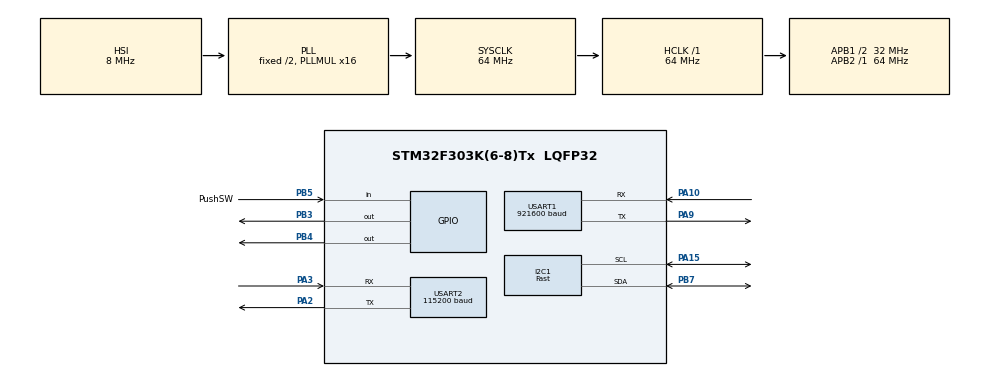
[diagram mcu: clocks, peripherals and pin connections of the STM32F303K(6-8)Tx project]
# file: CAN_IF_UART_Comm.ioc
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Dma.Request0=USART1_RX
Dma.USART1_RX.0.Direction=DMA_PERIPH_TO_MEMORY
Dma.USART1_RX.0.Instance=DMA1_Channel5
Dma.USART1_RX.0.MemDataAlignment=DMA_MDATAALIGN_BYTE
Dma.USART1_RX.0.MemInc=DMA_MINC_ENABLE
Dma.USART1_RX.0.Mode=DMA_CIRCULAR
Dma.USART1_RX.0.PeriphDataAlignment=DMA_PDATAALIGN_BYTE
Dma.USART1_RX.0.PeriphInc=DMA_PINC_DISABLE
Dma.USART1_RX.0.Priority=DMA_PRIORITY_LOW
I2C1.I2C_Speed_Mode=I2C_Fast
I2C1.Timing=0x0000020B
Mcu.Family=STM32F3
Mcu.Name=STM32F303K(6-8)Tx
Mcu.Package=LQFP32
NVIC.DMA1_Channel5_IRQn=true\:0\:0\:false\:false\:true\:false\:true
NVIC.PriorityGroup=NVIC_PRIORITYGROUP_4
NVIC.TIM3_IRQn=true\:0\:0\:false\:false\:true\:true\:true
NVIC.USART1_IRQn=true\:0\:0\:false\:false\:true\:true\:true
PA10.GPIO_PuPd=GPIO_PULLUP
PA10.Mode=Asynchronous
PA10.Signal=USART1_RX
PA13.GPIO_Label=SWDIO
PA13.Mode=Serial_Wire
PA13.Signal=SYS_JTMS-SWDIO
PA14.GPIO_Label=SWCLK
PA14.Mode=Serial_Wire
PA14.Signal=SYS_JTCK-SWCLK
PA15.Mode=I2C
PA15.Signal=I2C1_SCL
PA2.Mode=Asynchronous
PA2.Signal=USART2_TX
PA3.GPIO_PuPd=GPIO_PULLUP
PA3.Mode=Asynchronous
PA3.Signal=USART2_RX
PA9.Mode=Asynchronous
PA9.Signal=USART1_TX
PB3.Signal=GPIO_Output
PB4.Signal=GPIO_Output
PB5.GPIO_Label=PushSW
PB5.GPIO_PuPd=GPIO_PULLUP
PB5.Signal=GPIO_Input
PB7.Mode=I2C
PB7.Signal=I2C1_SDA
PF0\ /\ OSC_IN.GPIO_Label=MCO
PF0\ /\ OSC_IN.Mode=HSE-External-Clock-Source
PF0\ /\ OSC_IN.Signal=RCC_OSC_IN
ProjectManager.HeapSize=0x200
ProjectManager.StackSize=0x400
ProjectManager.TargetToolchain=Makefile
RCC.AHBFreq_Value=64000000
RCC.APB1CLKDivider=RCC_HCLK_DIV2
RCC.APB1Freq_Value=32000000
RCC.APB1TimFreq_Value=64000000
RCC.APB2Freq_Value=64000000
RCC.APB2TimFreq_Value=64000000
RCC.CortexFreq_Value=64000000
RCC.HCLKFreq_Value=64000000
RCC.HSE_VALUE=8000000
RCC.HSI_VALUE=8000000
RCC.PLLMUL=RCC_PLL_MUL16
RCC.SYSCLKFreq_VALUE=64000000
RCC.SYSCLKSourceVirtual=RCC_SYSCLKSOURCE_PLLCLK
TIM3.AutoReloadPreload=TIM_AUTORELOAD_PRELOAD_ENABLE
TIM3.Channel-Output\ Compare1\ No\ Output=TIM_CHANNEL_1
TIM3.Period=225-1
TIM3.Prescaler=32000-1
TIM3.Pulse-Output\ Compare1\ No\ Output=225-1
USART1.BaudRate=921600
USART1.VirtualMode-Asynchronous=VM_ASYNC
USART2.BaudRate=115200
USART2.VirtualMode-Asynchronous=VM_ASYNC
VP_TIM3_VS_ClockSourceINT.Mode=Internal
VP_TIM3_VS_no_output1.Mode=Output Compare1 No Output
board=NUCLEO-F303K8

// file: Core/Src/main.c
/* USER CODE BEGIN Header */
//#define   _ECHOBACK
//#define	_DEBUGPRINT_SUM
//#define _DEBUFPRINT_UART1_RX
//#define	_DEBUGPRINT_COB_ENC
//#define	_DEBUGPRINT_COB_DEC
//#define	_DEBUGPRINT_RX_PARSE
/**
  ******************************************************************************
  * @file           : main.c
  * @brief          : Main program body
  ******************************************************************************
  * @attention
  *
  * <h2><center>&copy; Copyright (c) 2020 STMicroelectronics.
  * All rights reserved.</center></h2>
  *
  * This software component is licensed by ST under BSD 3-Clause license,
  * the "License"; You may not use this file except in compliance with the
  * License. You may obtain a copy of the License at:
  *                        opensource.org/licenses/BSD-3-Clause
  *
  ******************************************************************************
  */
/* USER CODE END Header */
#include "main.h"
#include "dma.h"
#include "tim.h"
#include "i2c.h"
#include "usart.h"
#include "gpio.h"

/* USER CODE BEGIN Includes */
#include <stdint.h>
#include <stdlib.h> 		// for atol()
#include <stdio.h>
#include <string.h>			// for memset()
#include "cobsr.h"
#include "xprintf.h"
/* USER CODE END Includes */

/* USER CODE BEGIN PD */
#define	LED_ON0()		  HAL_GPIO_WritePin(GPIOB, GPIO_PIN_3, GPIO_PIN_SET)
#define	LED_ON1()		  HAL_GPIO_WritePin(GPIOB, GPIO_PIN_4, GPIO_PIN_SET)
#define	LED_OFF0()		HAL_GPIO_WritePin(GPIOB, GPIO_PIN_3, GPIO_PIN_RESET)
#define	LED_OFF1()		HAL_GPIO_WritePin(GPIOB, GPIO_PIN_4, GPIO_PIN_RESET)

#define	SW_Read()	    HAL_GPIO_ReadPin(PushSW_GPIO_Port, PushSW_Pin)

//### for cobs
#ifndef ArrayLength
#define ArrayLength(X)    (sizeof(X)/sizeof((X)[0]))
#endif

//### for USART1_EventHandler()
//uint8_t SCI_TX_DAT[TxBuff_Density] = {0x0};
uint8_t SCI_RX_DAT[RxBuff_Density] = {0x0};

uint8_t USART1_RX_BUF[RxBuff_Density] = {0x0};
#define DMA_WRITE_PTR ( (RxBuff_Density - huart1.hdmarx->Instance->CNDTR) % (RxBuff_Density) )

//### for LED_CTRL()
uint8_t LED[2];

//### Reserved
uint8_t	SW0 = 0;

/* USER CODE END PD */

void SystemClock_Config(void);

/* USER CODE BEGIN 0 */

//----------------------------------------------------------------
// UART Rx (w/DMA, for data) 921.6kbps
//----------------------------------------------------------------
void USART1_EventHandler(void)
{
    uint8_t rxlen = 0;
    uint8_t i;

    // idle状態検出
   	if((__HAL_UART_GET_FLAG(&huart1, UART_FLAG_IDLE) != RESET) && (__HAL_UART_GET_IT_SOURCE(&huart1, UART_IT_IDLE) != RESET))
    {
        __HAL_UART_CLEAR_IDLEFLAG(&huart1);
        HAL_UART_DMAStop(&huart1);      // DMA受信停止

        rxlen = DMA_WRITE_PTR;  // 受信データ長
#ifdef _DEBUFPRINT_UART1_RX
        xprintf("UART1_RxLength = %d\n", rxlen);
        xputs("DAT = ");
#endif
        for (i = 0; i < rxlen; i++)
        {
        	SCI_RX_DAT[i] = USART1_RX_BUF[i];
#ifdef _DEBUFPRINT_UART1_RX
        	xprintf("%02X ",SCI_RX_DAT[i]);
#endif

          if(SCI_RX_DAT[i] == 0x00)  //  データ末尾
          {
            UART_Rx_Decode(&SCI_RX_DAT, i);
          }
        }
#ifdef _DEBUFPRINT_UART1_RX
        xputs("\n");
#endif
        HAL_UART_Receive_DMA(&huart1, USART1_RX_BUF, RxBuff_Density);  // DMA受信再スタート
    }
}

//----------------------------------------------------------------
// Convert cobsr to plain
//----------------------------------------------------------------
void UART_Rx_Decode(uint8_t *buf, uint16_t len)
{
    cobsr_decode_result   result_rx;
    uint8_t               in_buffer[257];
    uint8_t               out_buffer[257];
    uint8_t               i;
    uint8_t               Receive_Length = 0;

    memset(in_buffer, 'A', sizeof(in_buffer));
    memset(out_buffer, 'A', sizeof(in_buffer));

    Receive_Length = len;

    for(i = 0; i < Receive_Length; i++)
    {
    	out_buffer[i] = buf[i];
    }

#ifdef  _DEBUGPRINT_COB_DEC
    xprintf("Length = %d\n", Receive_Length);
#endif
    result_rx = cobsr_decode(in_buffer, sizeof(in_buffer), out_buffer, Receive_Length);
#ifdef  _DEBUGPRINT_COB_DEC
    xputs("Decoded data : \n");
    print_hex(in_buffer, Receive_Length -1);
    xprintf("\nLength %u, Status %02X\n", result_rx.out_len, result_rx.status);
#endif
    uint8_t sum = in_buffer[in_buffer[0] -1];
#ifdef  _DEBUGPRINT_COB_DEC
    xprintf("\nSUM from packet : %02X\n",sum);
#endif
//    if(in_buffer[Receive_Length - 1] != check_sum(&in_buffer, Receive_Length - 1))
    if(sum != check_sum(&in_buffer, in_buffer[0] -1) )
    {
    	xputs("###Rx_Decode : Sum is incorrect\n");
    	xputs("\n");
    	xprintf("SUM Calc : %02X, Received : %02X\n", check_sum(&in_buffer, in_buffer[0] -1), sum);

        xputs("Received data : \n");
        print_hex(out_buffer, Receive_Length + 2);
        xprintf("\nLength %u\n", Receive_Length + 2);

    	xputs("Decoded data : \n");
        print_hex(in_buffer, in_buffer[0]);
        xprintf("\nLength %u, Status %02X\n", result_rx.out_len + 1, result_rx.status);
      return;   // Checksums don't match, abort.
    }

#ifdef  _DEBUGPRINT_COB_DEC
    uint8_t data_length = in_buffer[0]-(TxHeader_Length+1);
    xprintf("Src_Addr : 0x%02X, Dest_Addr : 0x%02X, Command : 0x%02X, Data_Length : %d\n", in_buffer[1], in_buffer[2], in_buffer[3], data_length);
    xputs("Payload : \n");
    print_hex(&in_buffer[TxHeader_Length], data_length);
    xputs("\n");
#endif

    UART_Rx_Parse(&in_buffer, in_buffer[0]);
}

//----------------------------------------------------------------
// parsing Rx Data
//----------------------------------------------------------------
void UART_Rx_Parse(uint8_t *buf, uint16_t len)
{
  uint8_t SRC_ADDR = buf[1];
  uint8_t DEST_ADDR = buf[2];
  uint8_t COMMAND = buf[3];
  uint8_t i;

  uint8_t PAYLOAD[256];
  uint8_t PAYLOAD_LENGTH = buf[0]-(TxHeader_Length+1);

  memset(PAYLOAD, 0x00, sizeof(PAYLOAD));

	// パケ?��?トフィルタ
	if(OWN_ADDRESS == SRC_ADDR)	// Loopback detect
	{
#ifdef _DEBUGPRINT_RX_PARSE
	  xputs("own Packet!\n");
#endif
	  return;
	}

	if(OWN_ADDRESS != DEST_ADDR)	// Packets not related to the own station
	{
		if(DEST_ADDR == 0x0)	//Broadcast packets are receive
		{
#ifdef _DEBUGPRINT_RX_PARSE
			xputs("Broadcast Packet!\n");
#endif
		} else
		{
#ifdef _DEBUGPRINT_RX_PARSE
			xputs("wasted Packet!\n");
#endif
			  return;
		}
	}

	for(i = 0; i < (buf[0]-(TxHeader_Length+1)); i++)
	{
		PAYLOAD[i] = buf[TxHeader_Length + i];
	}

	LED_CTRL(LED_SETTIME,1,LED_PERSIST_TIME);	// Rx LED
#ifdef _DEBUGPRINT_RX_PARSE
	xprintf("COMMAND = %02X\n", COMMAND);
#endif
	switch(COMMAND)
	{
		case CMD_NOP:
#ifdef _DEBUGPRINT_RX_PARSE
			xputs("### CMD_NOP ###\n");
			xputs("Payload : \n");
			print_hex(&PAYLOAD, PAYLOAD_LENGTH);
			xputs("\n");
#endif
			break;

		default:
			xputs("###Parse : Wrong Command \n");
			xprintf("Src_Addr : 0x%02X, Dest_Addr : 0x%02X, Command : 0x%02X\n", SRC_ADDR, DEST_ADDR, COMMAND);
			xputs("Payload : \n");
			print_hex(&PAYLOAD, PAYLOAD_LENGTH);
			xputs("\n");
			break;
	}
}

//----------------------------------------------------------------
// UART Tx (w/DMA, for data) 921.6kbps
//----------------------------------------------------------------
void UART_Transmit(uint8_t chara)
{
//	HAL_UART_Transmit_DMA(&huart1, (uint8_t*)&chara, 1);
	LED_CTRL(LED_SETTIME,0,LED_PERSIST_TIME);	// Tx LED
	HAL_UART_Transmit(&huart1, (uint8_t*)&chara, 1, 100);
	return;
}

//----------------------------------------------------------------
// UART Tx (w/DMA, for Debug) 115.2kbps
//----------------------------------------------------------------
void UART_Transmit_DebugOut(uint8_t chara)
{
	HAL_UART_Transmit(&huart2, (uint8_t*)&chara, 1, 100);
	return;
}

//----------------------------------------------------------------
// checksum
//----------------------------------------------------------------
uint8_t check_sum(uint8_t *buf, uint16_t len)
{
    uint16_t i;
    uint32_t sum = 0;

#ifdef  _DEBUGPRINT_SUM
    xputs("\nSUM : ");
#endif

    for(i=0;i<len;i++)
    {
#ifdef  _DEBUGPRINT_SUM
    	xprintf("%02X ", buf[i]);
#endif
    	sum+= buf[i];
    }

    sum = 0x000000FF & sum;

#ifdef  _DEBUGPRINT_SUM
    xprintf("\nsum : %02X\n", (uint8_t)sum);
#endif

    return (uint8_t)sum;
}

//---------------------------------------------------------------------------------------------------
// Dump any length
//---------------------------------------------------------------------------------------------------
void print_hex(const uint8_t * src_ptr, size_t src_len)
{
    size_t              i;

    for (i = 0; i < src_len; i++)
    {
        xprintf("%02X ", *src_ptr++);
    }
}

//---------------------------------------------------------------------------------------------------
// send uart1 any length
//---------------------------------------------------------------------------------------------------
void UART_Tx_bin(const uint8_t * src_ptr, size_t src_len)
{
    size_t	i;

    for (i = 0; i < src_len; i++)
    {
    	UART_Transmit(*src_ptr++);
    }
}

//---------------------------------------------------------------------------------------------------
// Convert data to packets and send (UART1)
//---------------------------------------------------------------------------------------------------
void UART_Tx_w_encode(const uint8_t * src_ptr, size_t src_len, uint8_t SRC_ADDR, uint8_t DEST_ADDR, uint8_t COMMAND)
{
    uint8_t             out_buffer[257];
    cobsr_encode_result  result;
    uint8_t   TxData[32];
    uint8_t   i;

    memset(TxData, 0x00, sizeof(TxData));
    memset(out_buffer, 'A', sizeof(out_buffer));

    for (i = 0; i < src_len; i++)
    {
      TxData[TxHeader_Length + i]  = *src_ptr++;	// 4 = Length(1) + Src_Addr(1) + Dest_Addr(1) + Command(1)
    }

    // TxData[0] = 14;       //LENGTH
    TxData[0] = TxHeader_Length + 1 + i;       //LENGTH, 5 = Length(1) + Src_Addr(1) + Dest_Addr(1) + Command(1) + Sum(1)
    TxData[1] = SRC_ADDR;		// Source_Address
    TxData[2] = DEST_ADDR;		// Dest_Address
    TxData[3] = COMMAND;		//Command
    TxData[TxData[0] - 1] = check_sum(&TxData, TxData[0] - 1);

#ifdef  _DEBUGPRINT_COB_ENC
    xputs("Encode data:\n");
    print_hex(TxData, TxData[0]);
    xputs("\n");
#endif
    result = cobsr_encode(out_buffer, sizeof(out_buffer), TxData, TxData[0]);
#ifdef  _DEBUGPRINT_COB_ENC
    xputs("Encoded data:\n");
    print_hex(out_buffer, result.out_len + 1);
    xprintf("\nLength %u, Status %02X\n", result.out_len + 1, result.status);
#endif

    // memset(SCI_TX_DAT, 0xFF, sizeof(SCI_TX_DAT));   // TxBuff Clear

    // for(i=0; i<result.out_len + 1; i++)
    // {
    //   SCI_TX_DAT[i] = out_buffer[i];
    // }

	UART_Tx_bin(out_buffer, result.out_len + 1);	// Send to UART
}

//---------------------------------------------------------------------------------------------------
// Set ON-Persist time to LED
//
//LED_CTRL(LED_DOWNCOUNT,0,0);
//LED_CTRL(LED_SETTIME,0,LED_PERSIST_TIME);
//---------------------------------------------------------------------------------------------------
void LED_CTRL( uint8_t control, uint8_t channel, uint8_t time)
{
    uint8_t i;

    switch(control)
    {
      case LED_DOWNCOUNT:
          for(i = 0; i < LED_MAX_CHANNEL; i++)
          {
//        	  xprintf("LED_Channel = %d\n",i);
              if(LED[i] == 0)   // off state
              {
                  if(i == 0)
                  {
                      LED_OFF0();
//                      break;
                  } else if(i == 1)
                  {
                      LED_OFF1();
//                      break;
                  }
              } else
              {
                LED[i] = LED[i] -1;   // on state (count down)

//                xprintf("LED%d = %d\n",i,LED[i]);

                if(i == 0)
                {
                    LED_ON0();
//                    break;
                } else if(i == 1)
                {
                    LED_ON1();
//                    break;
                }
              }
          }
          break;

      case LED_SETTIME:
          LED[channel] = time;    // set to LED-on time
          break;

      default:
          break;
    }
}

//----------------------------------------------------------------
// cyclic timer interrupt (10mSec)
//
//	htim3.Init.Prescaler = 3200-1;
//	htim3.Init.Period = 200;
//	APB2 = 64MHz
//	1 / (64M / (3200 x 200)) = 10e-3[Sec]
//
//----------------------------------------------------------------
void HAL_TIM_OC_DelayElapsedCallback(TIM_HandleTypeDef *htim)
{

  if((htim->Instance == TIM3) && (htim->Channel == HAL_TIM_ACTIVE_CHANNEL_1))
  {
    // Timeout_Function
    SW0 = SW_Read();

    LED_CTRL(LED_DOWNCOUNT,0,0);

  }
}
//---------------------------------------------------------------------------------------------------

/* USER CODE END 0 */

int main(void)
{

  /* MCU Configuration--------------------------------------------------------*/

  /* Reset of all peripherals, Initializes the Flash interface and the Systick. */
  HAL_Init();

  /* Configure the system clock */
  SystemClock_Config();

  /* Initialize all configured peripherals */
  MX_GPIO_Init();
  MX_DMA_Init();
  MX_USART1_UART_Init();
  MX_I2C1_Init();
  MX_TIM3_Init();
  MX_USART2_UART_Init();
  /* USER CODE BEGIN 2 */

	HAL_TIM_Base_Start_IT(&htim3);
	__HAL_TIM_CLEAR_FLAG(&htim3, TIM_FLAG_UPDATE);
	HAL_TIM_OC_Start_IT(&htim3, TIM_CHANNEL_1);

	__HAL_UART_DISABLE_IT(&huart1, UART_IT_PE);
	__HAL_UART_DISABLE_IT(&huart1, UART_IT_ERR);
	__HAL_UART_ENABLE_IT(&huart1, UART_IT_IDLE);
	HAL_UART_Receive_DMA(&huart1, USART1_RX_BUF, RxBuff_Density);

	xfunc_out = UART_Transmit_DebugOut;	//uart2, 115.2kbps

	uint8_t UART_Tx_Buf[32] = {0x55, 0xAA, 0xFF, 0x12, 0x34, 0xDE, 0xAD, 0xBE, 0xEF};

  /* USER CODE END 2 */

  /* Infinite loop */
  while (1)
  {
    /* USER CODE BEGIN 3 */

	UART_Tx_Buf[0] = rand() % 0xFF + 1;
	UART_Tx_Buf[1] = rand() % 0xFF + 1;
	UART_Tx_Buf[2] = rand() % 0xFF + 1;
	UART_Tx_Buf[3] = rand() % 0xFF + 1;
	UART_Tx_Buf[4] = rand() % 0xFF + 1;
	UART_Tx_Buf[5] = rand() % 0xFF + 1;
	UART_Tx_Buf[6] = rand() % 0xFF + 1;
	UART_Tx_Buf[7] = rand() % 0xFF + 1;

    HAL_Delay(500);	// 自分自身からのパケット
	UART_Tx_w_encode(UART_Tx_Buf, 9, OWN_ADDRESS, 0x10, CMD_NOP);  // buf, buf_length(count from 1), Src_Addr, Dest_Addr, Command
//	LED_CTRL(LED_SETTIME,0,LED_PERSIST_TIME);	// Tx LED

	UART_Tx_Buf[0] = rand() % 0xFF + 1;
	UART_Tx_Buf[1] = rand() % 0xFF + 1;
	UART_Tx_Buf[2] = rand() % 0xFF + 1;
	UART_Tx_Buf[3] = rand() % 0xFF + 1;
	UART_Tx_Buf[4] = rand() % 0xFF + 1;
	UART_Tx_Buf[5] = rand() % 0xFF + 1;
	UART_Tx_Buf[6] = rand() % 0xFF + 1;
	UART_Tx_Buf[7] = rand() % 0xFF + 1;
	HAL_Delay(500);	// 他局からのパケット(他局宛)
	UART_Tx_w_encode(UART_Tx_Buf, 9, 0x02, 0x10, CMD_NOP);  // buf, buf_length(count from 1), Src_Addr, Dest_Addr, Command

	UART_Tx_Buf[0] = rand() % 0xFF + 1;
	UART_Tx_Buf[1] = rand() % 0xFF + 1;
	UART_Tx_Buf[2] = rand() % 0xFF + 1;
	UART_Tx_Buf[3] = rand() % 0xFF + 1;
	UART_Tx_Buf[4] = rand() % 0xFF + 1;
	UART_Tx_Buf[5] = rand() % 0xFF + 1;
	UART_Tx_Buf[6] = rand() % 0xFF + 1;
	UART_Tx_Buf[7] = rand() % 0xFF + 1;
	HAL_Delay(500);	// 他局からのパケット(自局宛)
	UART_Tx_w_encode(UART_Tx_Buf, 9, 0x02, OWN_ADDRESS, CMD_NOP);  // buf, buf_length(count from 1), Src_Addr, Dest_Addr, Command
//	LED_CTRL(LED_SETTIME,1,LED_PERSIST_TIME);	// Rx LED

	UART_Tx_Buf[0] = rand() % 0xFF + 1;
	UART_Tx_Buf[1] = rand() % 0xFF + 1;
	UART_Tx_Buf[2] = rand() % 0xFF + 1;
	UART_Tx_Buf[3] = rand() % 0xFF + 1;
	UART_Tx_Buf[4] = rand() % 0xFF + 1;
	UART_Tx_Buf[5] = rand() % 0xFF + 1;
	UART_Tx_Buf[6] = rand() % 0xFF + 1;
	UART_Tx_Buf[7] = rand() % 0xFF + 1;
	HAL_Delay(500);	// グローバルパケット
	UART_Tx_w_encode(UART_Tx_Buf, 9, 0x02, 0x00, CMD_NOP);  // buf, buf_length(count from 1), Src_Addr, Dest_Addr, Command

//		LED_ON();
  }
  /* USER CODE END 3 */
}

void SystemClock_Config(void)
{
  RCC_OscInitTypeDef RCC_OscInitStruct = {0};
  RCC_ClkInitTypeDef RCC_ClkInitStruct = {0};
  RCC_PeriphCLKInitTypeDef PeriphClkInit = {0};

  /** Initializes the RCC Oscillators according to the specified parameters
  * in the RCC_OscInitTypeDef structure.
  */
  RCC_OscInitStruct.OscillatorType = RCC_OSCILLATORTYPE_HSI;
  RCC_OscInitStruct.HSIState = RCC_HSI_ON;
  RCC_OscInitStruct.HSICalibrationValue = RCC_HSICALIBRATION_DEFAULT;
  RCC_OscInitStruct.PLL.PLLState = RCC_PLL_ON;
  RCC_OscInitStruct.PLL.PLLSource = RCC_PLLSOURCE_HSI;
  RCC_OscInitStruct.PLL.PLLMUL = RCC_PLL_MUL16;
  if (HAL_RCC_OscConfig(&RCC_OscInitStruct) != HAL_OK)
  {
    Error_Handler();
  }
  /** Initializes the CPU, AHB and APB buses clocks
  */
  RCC_ClkInitStruct.ClockType = RCC_CLOCKTYPE_HCLK|RCC_CLOCKTYPE_SYSCLK
                              |RCC_CLOCKTYPE_PCLK1|RCC_CLOCKTYPE_PCLK2;
  RCC_ClkInitStruct.SYSCLKSource = RCC_SYSCLKSOURCE_PLLCLK;
  RCC_ClkInitStruct.AHBCLKDivider = RCC_SYSCLK_DIV1;
  RCC_ClkInitStruct.APB1CLKDivider = RCC_HCLK_DIV2;
  RCC_ClkInitStruct.APB2CLKDivider = RCC_HCLK_DIV1;

  if (HAL_RCC_ClockConfig(&RCC_ClkInitStruct, FLASH_LATENCY_2) != HAL_OK)
  {
    Error_Handler();
  }
  PeriphClkInit.PeriphClockSelection = RCC_PERIPHCLK_USART1|RCC_PERIPHCLK_I2C1;
  PeriphClkInit.Usart1ClockSelection = RCC_USART1CLKSOURCE_PCLK1;
  if (HAL_RCCEx_PeriphCLKConfig(&PeriphClkInit) != HAL_OK)
  {
    Error_Handler();
  }
}

void Error_Handler(void)
{
}

/************************ (C) COPYRIGHT STMicroelectronics *****END OF FILE****/
